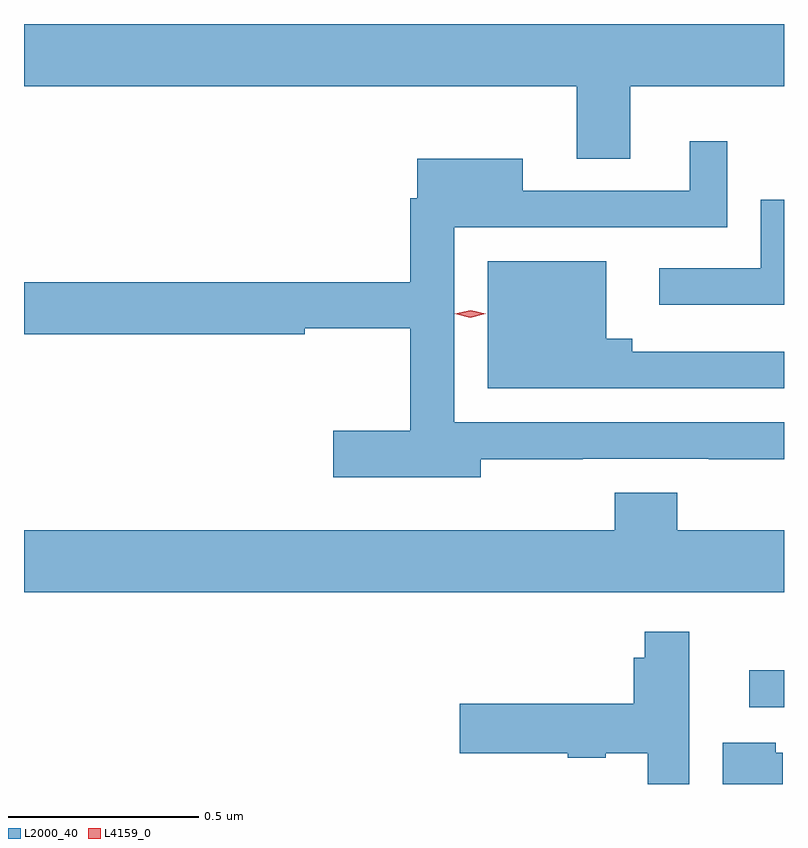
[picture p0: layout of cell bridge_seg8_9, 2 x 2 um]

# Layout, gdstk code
import gdstk
lib = gdstk.Library(unit=1e-6, precision=1e-09)
def R(c, l, rs):  # rectangles x0, y0, x1, y1
    for r in rs: c.add(gdstk.rectangle(r[:2], r[2:], *l))
def P(c, l, *ps):  # polygons
    for p in ps: c.add(gdstk.Polygon(p, *l))
L2000_40 = (2000, 40)
L4159_0 = (4159, 0)

bridge_seg8_9 = lib.new_cell('bridge_seg8_9')
R(bridge_seg8_9, L2000_40, [(988.386,1158.822,988.477,1158.919)])
P(bridge_seg8_9, L2000_40, [(988.072,1160.456),(988.477,1160.456),(988.477,1160.62),(986.477,1160.62),(986.477,1160.456),(987.932,1160.456),(987.932,1160.266),(988.072,1160.266)],
  [(987.679,1159.475),(987.947,1159.475),(987.947,1159.476),(988.279,1159.476),(988.279,1159.475),(988.477,1159.475),(988.477,1159.572),(987.609,1159.572),(987.609,1160.085),(988.327,1160.085),(988.327,1160.311),(988.229,1160.311),(988.229,1160.181),(987.79,1160.181),(987.79,1160.266),(987.512,1160.266),(987.512,1160.162),(987.493,1160.162),(987.493,1159.94),(986.477,1159.94),(986.477,1159.804),(987.216,1159.804),(987.216,1159.819),(987.493,1159.819),(987.493,1159.549),(987.291,1159.549),(987.291,1159.427),(987.679,1159.427)],
  [(988.477,1160.157),(988.416,1160.157),(988.416,1159.977),(988.149,1159.977),(988.149,1159.881),(988.477,1159.881)],
  [(987.974,1159.662),(988.477,1159.662),(988.477,1159.758),(988.078,1159.758),(988.078,1159.792),(988.009,1159.792),(988.009,1159.996),(987.698,1159.996),(987.698,1159.661),(987.974,1159.661)],
  [(988.477,1159.288),(988.196,1159.288),(988.196,1159.387),(988.031,1159.387),(988.031,1159.288),(986.477,1159.288),(986.477,1159.124),(988.477,1159.124)],
  [(988.227,1159.021),(988.111,1159.021),(988.111,1158.952),(988.082,1158.952),(988.082,1158.831),(987.624,1158.831),(987.624,1158.701),(987.908,1158.701),(987.908,1158.689),(988.008,1158.689),(988.008,1158.701),(988.119,1158.701),(988.119,1158.62),(988.227,1158.62)],
  [(988.474,1158.702),(988.455,1158.702),(988.455,1158.729),(988.316,1158.729),(988.316,1158.62),(988.474,1158.62)])
P(bridge_seg8_9, L4159_0, [(987.651,1159.847),(987.611,1159.857),(987.611,1159.858),(987.611,1159.858),(987.652,1159.867),(987.692,1159.857),(987.692,1159.857),(987.692,1159.857)])

lib.write_gds('bridge_seg8_9.gds')
